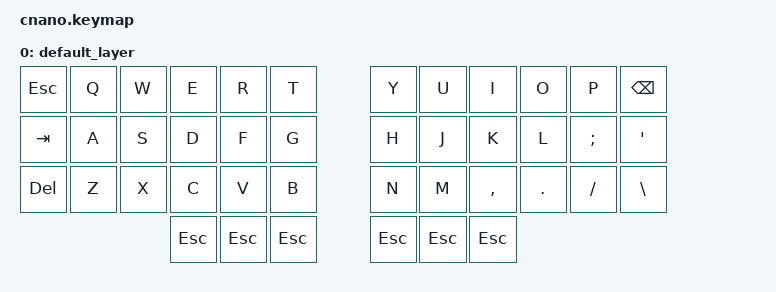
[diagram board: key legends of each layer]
/*
 * Copyright (c) 2021 Casey Webster
 *
 * SPDX-License-Identifier: MIT
 */

#include <behaviors.dtsi>
#include <dt-bindings/zmk/keys.h>
#include <dt-bindings/zmk/mouse.h>

/ {
	keymap {
		compatible = "zmk,keymap";

		default_layer {
			bindings = <
&kp ESC  &kp Q  &kp W  &kp E      &kp R        &kp T                 &kp Y       &kp U        &kp I               &kp O    &kp P     &kp BSPC
&kp TAB  &kp A  &kp S  &kp D      &kp F        &kp G                 &kp H       &kp J        &kp K               &kp L    &kp SEMI  &kp SQT
&kp DEL  &kp Z  &kp X  &kp C      &kp V        &kp B                 &kp N       &kp M        &kp COMMA           &kp DOT  &kp FSLH  &kp BACKSLASH
                       &kp ESC    &kp ESC  	   &kp ESC               &kp ESC     &kp ESC      &kp ESC
			>;
			trackball-bindings = <&tmv_coarse>;
		};
	};
};
